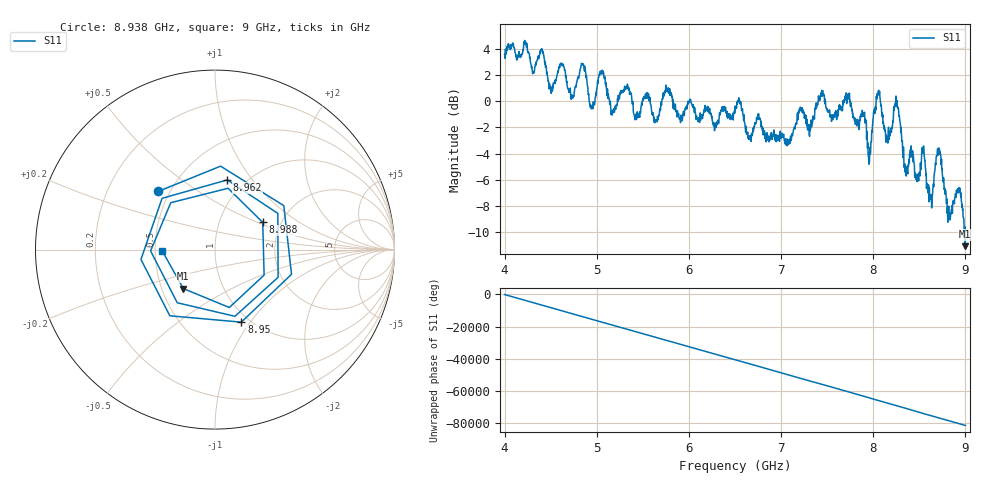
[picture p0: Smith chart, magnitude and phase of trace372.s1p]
! Created with skrf 1.8.0 (http://scikit-rf.org).
# Hz S RI R 50.0
!freq ReS11 ImS11
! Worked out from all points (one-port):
!   1601 points, 4 GHz to 9 GHz, reference 50 ohm
!   lowest |S11| = -11.1 dB at 8.997 GHz (marker M1), VSWR 1.78, Z = 32.2 - j15.2 ohm
!   |S11| at or under -10 dB: 8.987025 GHz to 8.992015 GHz (4.99 MHz wide, 0.0555 % of centre); 8.994868 GHz to end of sweep
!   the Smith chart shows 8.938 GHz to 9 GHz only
!   S11 on the Smith chart (normalised r, x): 8.938 GHz: 0.43, +0.35; 8.95 GHz: 0.91, -0.91; 8.962 GHz: 0.83, +0.76; 8.988 GHz: 1.61, +0.54; 9 GHz: 0.55, -0.01
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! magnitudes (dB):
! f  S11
! 4 GHz  3.6
! 4.406 GHz  3.9
! 4.503 GHz  0.8
! 4.625 GHz  2.7
! 4.731 GHz  0.3
! 4.853 GHz  2.8
! 4.944 GHz  -0.6
! 5.05 GHz  2.3
! 5.25 GHz  0.6
! 5.875 GHz  -0.7
! 6.5 GHz  -0.4
! 7.125 GHz  -2.6
! 7.75 GHz  0.0
! 7.956 GHz  -4.6
! 8.05 GHz  0.6
! 8.156 GHz  -3.1
! 8.253 GHz  -0.4
! 8.375 GHz  -5.5
! 8.544 GHz  -3.5
! 8.619 GHz  -7.5
! 8.709 GHz  -3.9
! 8.819 GHz  -8.0
! 8.938 GHz  -6.9
! 8.95 GHz  -7.3
! 8.962 GHz  -8.1
! 8.988 GHz  -10.3
! 8.997 GHz  -11.1
! 9 GHz  -10.7
